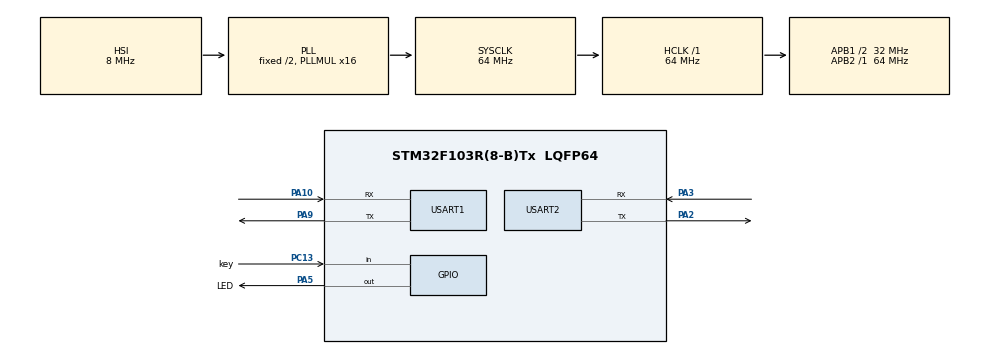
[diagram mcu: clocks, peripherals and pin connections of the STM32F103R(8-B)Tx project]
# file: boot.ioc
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Mcu.Family=STM32F1
Mcu.Name=STM32F103R(8-B)Tx
Mcu.Package=LQFP64
NVIC.PriorityGroup=NVIC_PRIORITYGROUP_4
NVIC.USART2_IRQn=true\:0\:0\:false\:false\:true\:true
PA10.Mode=Asynchronous
PA10.Signal=USART1_RX
PA13.Mode=Serial_Wire
PA13.Signal=SYS_JTMS-SWDIO
PA14.Mode=Serial_Wire
PA14.Signal=SYS_JTCK-SWCLK
PA2.Mode=Asynchronous
PA2.Signal=USART2_TX
PA3.Mode=Asynchronous
PA3.Signal=USART2_RX
PA5.GPIO_Label=LED
PA5.Signal=GPIO_Output
PA9.Mode=Asynchronous
PA9.Signal=USART1_TX
PC13-TAMPER-RTC.GPIO_Label=key
PC13-TAMPER-RTC.Signal=GPIO_Input
ProjectManager.HeapSize=0x200
ProjectManager.StackSize=0x400
ProjectManager.TargetToolchain=EWARM
RCC.AHBFreq_Value=64000000
RCC.APB1CLKDivider=RCC_HCLK_DIV2
RCC.APB1Freq_Value=32000000
RCC.APB1TimFreq_Value=64000000
RCC.APB2Freq_Value=64000000
RCC.APB2TimFreq_Value=64000000
RCC.HCLKFreq_Value=64000000
RCC.PLLMUL=RCC_PLL_MUL16
RCC.SYSCLKFreq_VALUE=64000000
RCC.SYSCLKSource=RCC_SYSCLKSOURCE_PLLCLK
RCC.USBFreq_Value=64000000
USART1.VirtualMode=VM_ASYNC
USART2.VirtualMode=VM_ASYNC
board=boot

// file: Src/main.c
/**
  ******************************************************************************
  * @file           : main.c
  * @brief          : Main program body
  ******************************************************************************
  ** This notice applies to any and all portions of this file
  * that are not between comment pairs USER CODE BEGIN and
  * USER CODE END. Other portions of this file, whether
  * inserted by the user or by software development tools
  * are owned by their respective copyright owners.
  *
  * COPYRIGHT(c) 2018 STMicroelectronics
  *
  * Redistribution and use in source and binary forms, with or without modification,
  * are permitted provided that the following conditions are met:
  *   1. Redistributions of source code must retain the above copyright notice,
  *      this list of conditions and the following disclaimer.
  *   2. Redistributions in binary form must reproduce the above copyright notice,
  *      this list of conditions and the following disclaimer in the documentation
  *      and/or other materials provided with the distribution.
  *   3. Neither the name of STMicroelectronics nor the names of its contributors
  *      may be used to endorse or promote products derived from this software
  *      without specific prior written permission.
  *
  * THIS SOFTWARE IS PROVIDED BY THE COPYRIGHT HOLDERS AND CONTRIBUTORS "AS IS"
  * AND ANY EXPRESS OR IMPLIED WARRANTIES, INCLUDING, BUT NOT LIMITED TO, THE
  * IMPLIED WARRANTIES OF MERCHANTABILITY AND FITNESS FOR A PARTICULAR PURPOSE ARE
  * DISCLAIMED. IN NO EVENT SHALL THE COPYRIGHT HOLDER OR CONTRIBUTORS BE LIABLE
  * FOR ANY DIRECT, INDIRECT, INCIDENTAL, SPECIAL, EXEMPLARY, OR CONSEQUENTIAL
  * DAMAGES (INCLUDING, BUT NOT LIMITED TO, PROCUREMENT OF SUBSTITUTE GOODS OR
  * SERVICES; LOSS OF USE, DATA, OR PROFITS; OR BUSINESS INTERRUPTION) HOWEVER
  * CAUSED AND ON ANY THEORY OF LIABILITY, WHETHER IN CONTRACT, STRICT LIABILITY,
  * OR TORT (INCLUDING NEGLIGENCE OR OTHERWISE) ARISING IN ANY WAY OUT OF THE USE
  * OF THIS SOFTWARE, EVEN IF ADVISED OF THE POSSIBILITY OF SUCH DAMAGE.
  *
  ******************************************************************************
  */
#include "main.h"
#include "stm32f1xx_hal.h"

/* USER CODE BEGIN Includes */
#include "stdio.h"
#include "uart_boot.h"
/* USER CODE END Includes */

UART_HandleTypeDef huart1;
UART_HandleTypeDef huart2;

/* USER CODE BEGIN PV */
/* Private variables ---------------------------------------------------------*/

/* USER CODE END PV */

void SystemClock_Config(void);
static void MX_GPIO_Init(void);
static void MX_USART2_UART_Init(void);
static void MX_USART1_UART_Init(void);

/* USER CODE BEGIN PFP */
/* Private function prototypes -----------------------------------------------*/

/* USER CODE END PFP */

/* USER CODE BEGIN 0 */
#define LED_ON()     HAL_GPIO_WritePin(LED_GPIO_Port, LED_Pin, GPIO_PIN_SET)
#define LED_OFF()    HAL_GPIO_WritePin(LED_GPIO_Port, LED_Pin, GPIO_PIN_RESET)

typedef  void (*pFunction)(void);

#define FLASH_PAGE_STEP         FLASH_PAGE_SIZE           /* Size of page : 2 Kbytes */
#define APPLICATION_ADDRESS     (uint32_t)0x08004000      /* Start user code address: ADDR_FLASH_PAGE_8 */

uint32_t JumpAddress;
pFunction JumpToApplication;

int fputc(int ch, FILE *f) {
    /* Do your stuff here */
    /* Send your custom byte */

    HAL_UART_Transmit(&huart1, (uint8_t*)&ch, 1, 10); // this is a blocking uart transmit function

    /* If everything is OK, you have to return character written */
    return ch;
}

/* USER CODE END 0 */

int main(void)
{

  /* MCU Configuration----------------------------------------------------------*/

  /* Reset of all peripherals, Initializes the Flash interface and the Systick. */
  HAL_Init();

  /* Configure the system clock */
  SystemClock_Config();

  /* Initialize all configured peripherals */
  MX_GPIO_Init();
  MX_USART2_UART_Init();
  MX_USART1_UART_Init();
  /* USER CODE BEGIN 2 */
  printf("Boot start\r\n");
  bootloader_init();

    if(HAL_GPIO_ReadPin(key_GPIO_Port, key_Pin))
    {
      LED_ON();
    }else{
      printf("led off\r\n");
      LED_OFF();
      /* Test if user code is programmed starting from address "APPLICATION_ADDRESS" */
    //  if (((*(__IO uint32_t*)APPLICATION_ADDRESS) & 0x2FFE0000 ) == 0x20000000)
      {
        printf("Jump start\r\n");
        /* Jump to user application */
        JumpAddress = *(__IO uint32_t*) (APPLICATION_ADDRESS + 4);
        JumpToApplication = (pFunction) JumpAddress;
        /* Initialize user application's Stack Pointer */
        __set_MSP(*(__IO uint32_t*) APPLICATION_ADDRESS);
        JumpToApplication();
        printf("jump end\r\n");
      }
    }
  /* USER CODE END 2 */

  /* Infinite loop */
  /* USER CODE BEGIN WHILE */
  while (1)
  {
  bootloader_task();
  /* USER CODE END WHILE */

  }

}

void SystemClock_Config(void)
{

  RCC_OscInitTypeDef RCC_OscInitStruct;
  RCC_ClkInitTypeDef RCC_ClkInitStruct;

    /**Initializes the CPU, AHB and APB busses clocks
    */
  RCC_OscInitStruct.OscillatorType = RCC_OSCILLATORTYPE_HSI;
  RCC_OscInitStruct.HSIState = RCC_HSI_ON;
  RCC_OscInitStruct.HSICalibrationValue = 16;
  RCC_OscInitStruct.PLL.PLLState = RCC_PLL_ON;
  RCC_OscInitStruct.PLL.PLLSource = RCC_PLLSOURCE_HSI_DIV2;
  RCC_OscInitStruct.PLL.PLLMUL = RCC_PLL_MUL16;
  if (HAL_RCC_OscConfig(&RCC_OscInitStruct) != HAL_OK)
  {
    _Error_Handler(__FILE__, __LINE__);
  }

    /**Initializes the CPU, AHB and APB busses clocks
    */
  RCC_ClkInitStruct.ClockType = RCC_CLOCKTYPE_HCLK|RCC_CLOCKTYPE_SYSCLK
                              |RCC_CLOCKTYPE_PCLK1|RCC_CLOCKTYPE_PCLK2;
  RCC_ClkInitStruct.SYSCLKSource = RCC_SYSCLKSOURCE_PLLCLK;
  RCC_ClkInitStruct.AHBCLKDivider = RCC_SYSCLK_DIV1;
  RCC_ClkInitStruct.APB1CLKDivider = RCC_HCLK_DIV2;
  RCC_ClkInitStruct.APB2CLKDivider = RCC_HCLK_DIV1;

  if (HAL_RCC_ClockConfig(&RCC_ClkInitStruct, FLASH_LATENCY_2) != HAL_OK)
  {
    _Error_Handler(__FILE__, __LINE__);
  }

    /**Configure the Systick interrupt time
    */
  HAL_SYSTICK_Config(HAL_RCC_GetHCLKFreq()/1000);

    /**Configure the Systick
    */
  HAL_SYSTICK_CLKSourceConfig(SYSTICK_CLKSOURCE_HCLK);

  /* SysTick_IRQn interrupt configuration */
  HAL_NVIC_SetPriority(SysTick_IRQn, 0, 0);
}

/* USART1 init function */
static void MX_USART1_UART_Init(void)
{

  huart1.Instance = USART1;
  huart1.Init.BaudRate = 115200;
  huart1.Init.WordLength = UART_WORDLENGTH_8B;
  huart1.Init.StopBits = UART_STOPBITS_1;
  huart1.Init.Parity = UART_PARITY_NONE;
  huart1.Init.Mode = UART_MODE_TX_RX;
  huart1.Init.HwFlowCtl = UART_HWCONTROL_NONE;
  huart1.Init.OverSampling = UART_OVERSAMPLING_16;
  if (HAL_UART_Init(&huart1) != HAL_OK)
  {
    _Error_Handler(__FILE__, __LINE__);
  }

}

/* USART2 init function */
static void MX_USART2_UART_Init(void)
{

  huart2.Instance = USART2;
  huart2.Init.BaudRate = 115200;
  huart2.Init.WordLength = UART_WORDLENGTH_8B;
  huart2.Init.StopBits = UART_STOPBITS_1;
  huart2.Init.Parity = UART_PARITY_NONE;
  huart2.Init.Mode = UART_MODE_TX_RX;
  huart2.Init.HwFlowCtl = UART_HWCONTROL_NONE;
  huart2.Init.OverSampling = UART_OVERSAMPLING_16;
  if (HAL_UART_Init(&huart2) != HAL_OK)
  {
    _Error_Handler(__FILE__, __LINE__);
  }

}

/** Configure pins as
        * Analog
        * Input
        * Output
        * EVENT_OUT
        * EXTI
*/
static void MX_GPIO_Init(void)
{

  GPIO_InitTypeDef GPIO_InitStruct;

  /* GPIO Ports Clock Enable */
  __HAL_RCC_GPIOC_CLK_ENABLE();
  __HAL_RCC_GPIOA_CLK_ENABLE();

  /*Configure GPIO pin Output Level */
  HAL_GPIO_WritePin(LED_GPIO_Port, LED_Pin, GPIO_PIN_RESET);

  /*Configure GPIO pin : key_Pin */
  GPIO_InitStruct.Pin = key_Pin;
  GPIO_InitStruct.Mode = GPIO_MODE_INPUT;
  GPIO_InitStruct.Pull = GPIO_NOPULL;
  HAL_GPIO_Init(key_GPIO_Port, &GPIO_InitStruct);

  /*Configure GPIO pin : LED_Pin */
  GPIO_InitStruct.Pin = LED_Pin;
  GPIO_InitStruct.Mode = GPIO_MODE_OUTPUT_PP;
  GPIO_InitStruct.Speed = GPIO_SPEED_FREQ_LOW;
  HAL_GPIO_Init(LED_GPIO_Port, &GPIO_InitStruct);

}

void _Error_Handler(char *file, int line)
{
  while(1)
  {
  }
}

/************************ (C) COPYRIGHT STMicroelectronics *****END OF FILE****/
